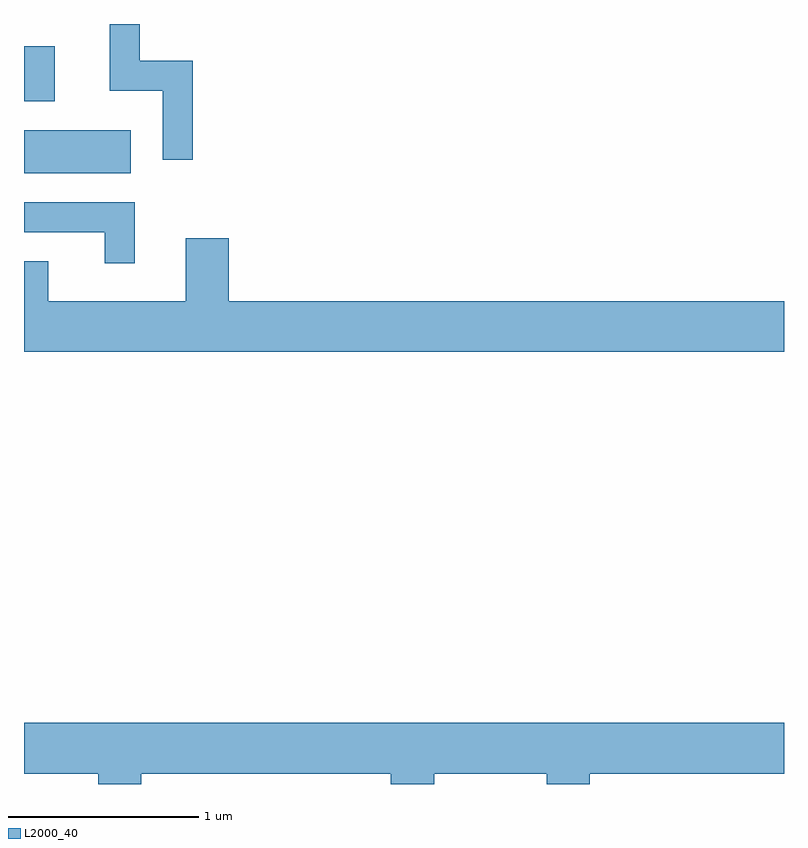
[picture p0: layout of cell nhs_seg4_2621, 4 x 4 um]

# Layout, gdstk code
import gdstk
lib = gdstk.Library(unit=1e-6, precision=1e-09)
def R(c, l, rs):  # rectangles x0, y0, x1, y1
    for r in rs: c.add(gdstk.rectangle(r[:2], r[2:], *l))
def P(c, l, *ps):  # polygons
    for p in ps: c.add(gdstk.Polygon(p, *l))
L2000_40 = (2000, 40)

nhs_seg4_2621 = lib.new_cell('nhs_seg4_2621')
R(nhs_seg4_2621, L2000_40, [(261.611,1331.196,262.174,1331.424), (261.611,1331.576,261.774,1331.864)])
P(nhs_seg4_2621, L2000_40, [(262.499,1331.789),(262.219,1331.789),(262.219,1331.982),(262.061,1331.982),(262.061,1331.631),(262.341,1331.631),(262.341,1331.268),(262.499,1331.268)],
  [(262.194,1331.044),(261.611,1331.044),(261.611,1330.886),(262.036,1330.886),(262.036,1330.723),(262.194,1330.723)],
  [(265.611,1330.524),(262.689,1330.524),(262.689,1330.854),(262.461,1330.854),(262.461,1330.524),(261.739,1330.524),(261.739,1330.734),(261.611,1330.734),(261.611,1330.256),(265.611,1330.256)],
  [(262.229,1328.036),(263.541,1328.036),(263.541,1327.982),(263.769,1327.982),(263.769,1328.036),(264.361,1328.036),(264.361,1327.982),(264.589,1327.982),(264.589,1328.036),(265.611,1328.036),(265.611,1328.304),(261.611,1328.304),(261.611,1328.036),(262.001,1328.036),(262.001,1327.982),(262.229,1327.982)])

lib.write_gds('nhs_seg4_2621.gds')
